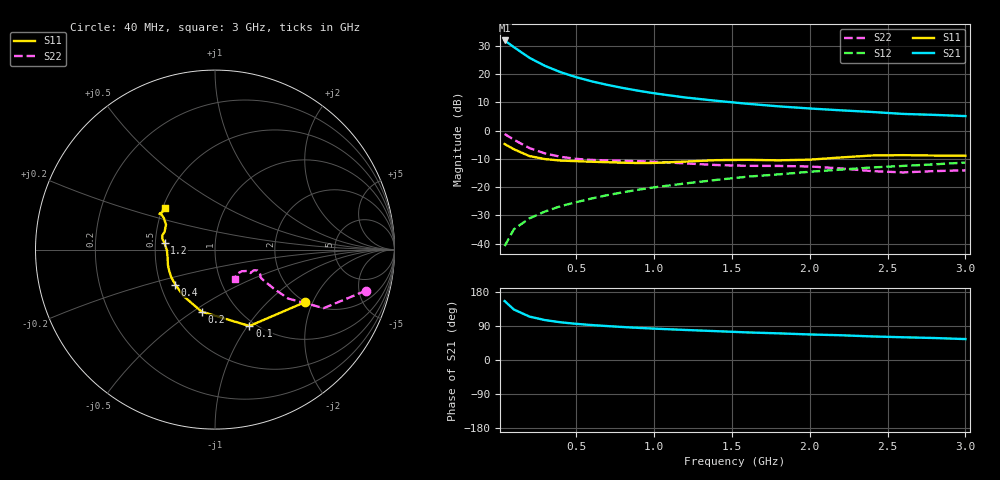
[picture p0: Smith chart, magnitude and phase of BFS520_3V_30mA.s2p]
! Filename:  BFS520F.S2P  Version:  4.0
! Philips part #: BFS520  Date: Jun 1994
! Bias condition: Vce=3V, Ic=30mA
#  MHz  S  MA  R  50
! Freq  S11  S21  S12  S22  !GUM [dB]
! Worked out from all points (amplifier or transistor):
!   21 points, 40 MHz to 3 GHz, reference 50 ohm
!   highest |S21| = 31.9 dB at 40 MHz (marker M1)
!   |S21| within 3 dB of that: start of sweep to 116.3 MHz
!   unconditionally stable (mu >= 1): 470.3 MHz to end of sweep
!   at 300 MHz: K = 0.89, MSG = 25.8 dB, |S12| = -28.6 dB
!   at 1 GHz: K = 1.09, MAG = 14.8 dB, |S12| = -20.1 dB
!   at 3 GHz: K = 1.04, MAG = 6.9 dB, |S12| = -11.3 dB
!   S11 on the Smith chart (normalised r, x): 40 MHz: 1.97, -1.74; 100 MHz: 0.94, -1.02; 200 MHz: 0.69, -0.54; 400 MHz: 0.60, -0.26; 1.2 GHz: 0.56, +0.04; 3 GHz: 0.52, +0.27
40  0.579 -30.5  39.47 155.6  0.009 77.8  0.872 -15.2
100  0.467 -65.7  29.99 133.1  0.018 67.5  0.688 -28.3
200  0.354 -102.1  19.42 114.5  0.028 64.7  0.49 -33.8
300  0.313 -123.9  13.98 105.3  0.037 66.9  0.394 -33.6
400  0.295 -138.6  10.82 99.5  0.046 69.1  0.344 -32.8
500  0.288 -148.1  8.827 95.4  0.054 70.9  0.316 -32.2
600  0.281 -155.4  7.452 92.2  0.063 72.1  0.303 -31.7
700  0.276 -161.7  6.453 89.5  0.072 73.1  0.296 -31.1
800  0.27 -167.5  5.684 87.0  0.081 73.8  0.292 -30.1
900  0.267 -173.2  5.079 84.8  0.09 74.1  0.288 -28.9
1000  0.268 -178.7  4.585 82.8  0.099 74.5  0.281 -27.7
1200  0.283 172.9  3.861 79.3  0.116 74.7  0.263 -26.2
1400  0.3 168.3  3.375 76.1  0.134 75.2  0.246 -27.9
1600  0.304 165.0  2.987 72.8  0.153 74.4  0.238 -32.0
1800  0.298 160.5  2.691 70.3  0.168 74.3  0.237 -33.4
2000  0.306 153.1  2.466 67.4  0.187 73.7  0.232 -33.3
2200  0.335 148.3  2.287 65.3  0.204 73.7  0.214 -33.8
2400  0.363 146.5  2.138 62.2  0.223 73.0  0.192 -38.9
2600  0.368 147.3  1.976 60.0  0.237 71.9  0.182 -47.8
2800  0.362 145.3  1.9 58.0  0.253 71.8  0.192 -53.9
3000  0.359 140.3  1.808 55.2  0.272 71.0  0.198 -55.8
